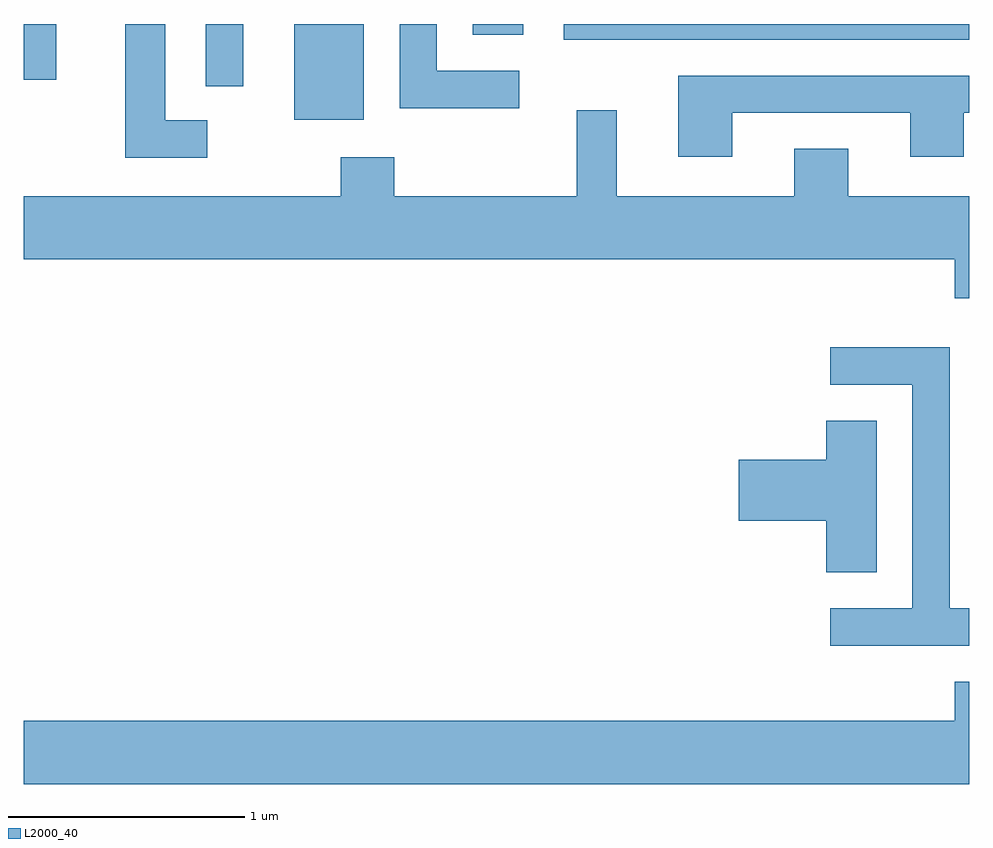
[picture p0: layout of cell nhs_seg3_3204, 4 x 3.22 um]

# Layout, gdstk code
import gdstk
lib = gdstk.Library(unit=1e-6, precision=1e-09)
def R(c, l, rs):  # rectangles x0, y0, x1, y1
    for r in rs: c.add(gdstk.rectangle(r[:2], r[2:], *l))
def P(c, l, *ps):  # polygons
    for p in ps: c.add(gdstk.Polygon(p, *l))
L2000_40 = (2000, 40)

nhs_seg3_3204 = lib.new_cell('nhs_seg3_3204')
R(nhs_seg3_3204, L2000_40, [(280.756,1135.486,281.049,1135.892), (280.381,1135.628,280.539,1135.892), (279.611,1135.656,279.749,1135.892), (281.896,1135.826,283.611,1135.892), (281.511,1135.846,281.724,1135.892)])
P(nhs_seg3_3204, L2000_40, [(280.388,1135.484),(280.209,1135.484),(280.209,1135.892),(280.041,1135.892),(280.041,1135.326),(280.388,1135.326)],
  [(281.708,1135.694),(281.359,1135.694),(281.359,1135.892),(281.201,1135.892),(281.201,1135.536),(281.708,1135.536)],
  [(282.609,1135.516),(283.361,1135.516),(283.361,1135.331),(283.589,1135.331),(283.589,1135.516),(283.611,1135.516),(283.611,1135.674),(282.381,1135.674),(282.381,1135.331),(282.609,1135.331)],
  [(283.611,1135.164),(283.099,1135.164),(283.099,1135.364),(282.871,1135.364),(282.871,1135.164),(282.119,1135.164),(282.119,1135.528),(281.951,1135.528),(281.951,1135.164),(281.179,1135.164),(281.179,1135.329),(280.951,1135.329),(280.951,1135.164),(279.611,1135.164),(279.611,1134.896),(283.551,1134.896),(283.551,1134.731),(283.611,1134.731)],
  [(283.611,1133.419),(283.529,1133.419),(283.529,1134.524),(283.023,1134.524),(283.023,1134.366),(283.371,1134.366),(283.371,1133.419),(283.023,1133.419),(283.023,1133.261),(283.611,1133.261)],
  [(283.219,1134.214),(283.006,1134.214),(283.006,1134.049),(282.636,1134.049),(282.636,1133.791),(283.006,1133.791),(283.006,1133.571),(283.219,1133.571)],
  [(283.611,1133.109),(283.551,1133.109),(283.551,1132.944),(279.611,1132.944),(279.611,1132.676),(283.611,1132.676)])

lib.write_gds('nhs_seg3_3204.gds')
